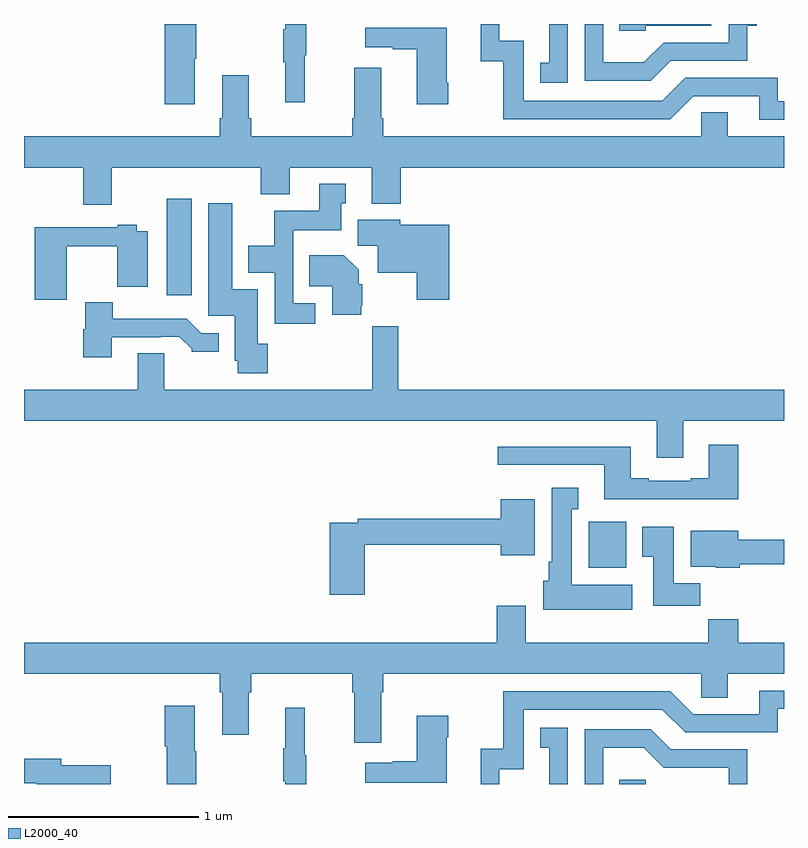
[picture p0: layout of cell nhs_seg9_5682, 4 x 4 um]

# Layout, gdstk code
import gdstk
lib = gdstk.Library(unit=1e-6, precision=1e-09)
def R(c, l, rs):  # rectangles x0, y0, x1, y1
    for r in rs: c.add(gdstk.rectangle(r[:2], r[2:], *l))
def P(c, l, *ps):  # polygons
    for p in ps: c.add(gdstk.Polygon(p, *l))
L2000_40 = (2000, 40)

nhs_seg9_5682 = lib.new_cell('nhs_seg9_5682')
R(nhs_seg9_5682, L2000_40, [(444.133,1202.5,444.273,1202.523), (443.972,1203.638,444.169,1203.88), (441.752,1205.073,441.883,1205.581)])
P(nhs_seg9_5682, L2000_40, [(445,1206.093),(444.966,1206.093),(444.966,1206.216),(444.48,1206.216),(444.36,1206.096),(443.631,1206.096),(443.631,1206.411),(443.502,1206.411),(443.502,1206.5),(443.405,1206.5),(443.405,1206.303),(443.523,1206.303),(443.523,1206),(444.402,1206),(444.522,1206.12),(444.869,1206.12),(444.869,1205.997),(445,1205.997)],
  [(443.862,1206.5),(443.765,1206.5),(443.765,1206.297),(443.716,1206.297),(443.716,1206.192),(443.862,1206.192)],
  [(441.898,1206.316),(441.906,1206.316),(441.906,1206.5),(441.74,1206.5),(441.74,1206.078),(441.898,1206.078)],
  [(442.478,1206.336),(442.486,1206.336),(442.486,1206.5),(442.376,1206.5),(442.376,1206.473),(442.365,1206.473),(442.365,1206.299),(442.376,1206.299),(442.376,1206.087),(442.478,1206.087)],
  [(444.403,1206.306),(444.807,1206.306),(444.807,1206.491),(444.856,1206.491),(444.856,1206.5),(444.708,1206.5),(444.708,1206.402),(444.366,1206.402),(444.262,1206.298),(444.048,1206.298),(444.048,1206.5),(443.952,1206.5),(443.952,1206.201),(444.298,1206.201)],
  [(444.273,1206.492),(444.618,1206.492),(444.618,1206.5),(444.133,1206.5),(444.133,1206.465),(444.273,1206.465)],
  [(443.232,1206.19),(443.224,1206.19),(443.224,1206.481),(442.797,1206.481),(442.797,1206.377),(442.94,1206.377),(442.94,1206.367),(443.066,1206.367),(443.066,1206.078),(443.232,1206.078)],
  [(441.463,1205.744),(442.247,1205.744),(442.247,1205.603),(442.399,1205.603),(442.399,1205.744),(442.829,1205.744),(442.829,1205.555),(442.982,1205.555),(442.982,1205.744),(445,1205.744),(445,1205.908),(444.703,1205.908),(444.703,1206.035),(444.564,1206.035),(444.564,1205.908),(442.892,1205.908),(442.892,1206.004),(442.879,1206.004),(442.879,1206.271),(442.739,1206.271),(442.739,1206.004),(442.727,1206.004),(442.727,1205.908),(442.196,1205.908),(442.196,1206.004),(442.183,1206.004),(442.183,1206.229),(442.043,1206.229),(442.043,1206.004),(442.031,1206.004),(442.031,1205.908),(441,1205.908),(441,1205.744),(441.311,1205.744),(441.311,1205.55),(441.463,1205.55)],
  [(442.534,1205.031),(442.416,1205.031),(442.416,1205.414),(442.669,1205.414),(442.669,1205.556),(442.693,1205.556),(442.693,1205.659),(442.553,1205.659),(442.553,1205.518),(442.318,1205.518),(442.318,1205.332),(442.181,1205.332),(442.181,1205.192),(442.32,1205.192),(442.32,1204.923),(442.534,1204.923)],
  [(442.283,1204.818),(442.231,1204.818),(442.231,1205.104),(442.096,1205.104),(442.096,1205.557),(441.971,1205.557),(441.971,1204.965),(442.109,1204.965),(442.109,1204.728),(442.126,1204.728),(442.126,1204.662),(442.283,1204.662)],
  [(443.237,1205.443),(442.98,1205.443),(442.98,1205.47),(442.757,1205.47),(442.757,1205.332),(442.862,1205.332),(442.862,1205.192),(443.066,1205.192),(443.066,1205.049),(443.237,1205.049)],
  [(441.226,1205.329),(441.49,1205.329),(441.49,1205.117),(441.652,1205.117),(441.652,1205.41),(441.594,1205.41),(441.594,1205.443),(441.494,1205.443),(441.494,1205.43),(441.056,1205.43),(441.056,1205.049),(441.226,1205.049)],
  [(442.775,1205.016),(442.78,1205.016),(442.78,1205.13),(442.762,1205.13),(442.762,1205.206),(442.684,1205.284),(442.501,1205.284),(442.501,1205.12),(442.622,1205.12),(442.622,1204.97),(442.775,1204.97)],
  [(441.463,1204.851),(441.719,1204.851),(441.719,1204.854),(441.818,1204.854),(441.882,1204.79),(441.882,1204.775),(442.024,1204.775),(442.024,1204.872),(441.933,1204.872),(441.857,1204.948),(441.466,1204.948),(441.466,1205.035),(441.323,1205.035),(441.323,1204.893),(441.311,1204.893),(441.311,1204.746),(441.463,1204.746)],
  [(444.469,1204.412),(445,1204.412),(445,1204.576),(442.97,1204.576),(442.97,1204.909),(442.834,1204.909),(442.834,1204.576),(441.739,1204.576),(441.739,1204.766),(441.599,1204.766),(441.599,1204.576),(441,1204.576),(441,1204.412),(444.329,1204.412),(444.329,1204.218),(444.469,1204.218)],
  [(444.758,1204.285),(444.605,1204.285),(444.605,1204.108),(444.509,1204.108),(444.509,1204.095),(444.289,1204.095),(444.289,1204.108),(444.193,1204.108),(444.193,1204.276),(443.493,1204.276),(443.493,1204.179),(444.053,1204.179),(444.053,1203.998),(444.758,1203.998)],
  [(444.202,1203.55),(443.884,1203.55),(443.884,1203.947),(443.917,1203.947),(443.917,1204.06),(443.777,1204.06),(443.777,1203.67),(443.762,1203.67),(443.762,1203.57),(443.732,1203.57),(443.732,1203.416),(444.202,1203.416)],
  [(442.793,1203.76),(443.51,1203.76),(443.51,1203.704),(443.689,1203.704),(443.689,1204),(443.51,1204),(443.51,1203.896),(442.756,1203.896),(442.756,1203.876),(442.61,1203.876),(442.61,1203.495),(442.793,1203.495)],
  [(444.56,1203.556),(444.421,1203.556),(444.421,1203.853),(444.254,1203.853),(444.254,1203.697),(444.311,1203.697),(444.311,1203.438),(444.56,1203.438)],
  [(444.768,1203.657),(445,1203.657),(445,1203.785),(444.76,1203.785),(444.76,1203.832),(444.509,1203.832),(444.509,1203.644),(444.642,1203.644),(444.642,1203.638),(444.768,1203.638)],
  [(442.879,1202.984),(442.892,1202.984),(442.892,1203.08),(444.564,1203.08),(444.564,1202.953),(444.703,1202.953),(444.703,1203.08),(445,1203.08),(445,1203.244),(444.758,1203.244),(444.758,1203.368),(444.601,1203.368),(444.601,1203.244),(443.641,1203.244),(443.641,1203.439),(443.489,1203.439),(443.489,1203.244),(441,1203.244),(441,1203.08),(442.031,1203.08),(442.031,1202.984),(442.043,1202.984),(442.043,1202.76),(442.183,1202.76),(442.183,1202.984),(442.196,1202.984),(442.196,1203.08),(442.727,1203.08),(442.727,1202.984),(442.739,1202.984),(442.739,1202.718),(442.879,1202.718)],
  [(443.502,1202.577),(443.631,1202.577),(443.631,1202.892),(444.36,1202.892),(444.48,1202.772),(444.966,1202.772),(444.966,1202.895),(445,1202.895),(445,1202.991),(444.869,1202.991),(444.869,1202.868),(444.522,1202.868),(444.402,1202.988),(443.523,1202.988),(443.523,1202.686),(443.405,1202.686),(443.405,1202.5),(443.502,1202.5)],
  [(441.906,1202.672),(441.898,1202.672),(441.898,1202.911),(441.74,1202.911),(441.74,1202.698),(441.752,1202.698),(441.752,1202.5),(441.906,1202.5)],
  [(442.486,1202.652),(442.478,1202.652),(442.478,1202.902),(442.376,1202.902),(442.376,1202.689),(442.365,1202.689),(442.365,1202.515),(442.376,1202.515),(442.376,1202.5),(442.486,1202.5)],
  [(443.224,1202.747),(443.232,1202.747),(443.232,1202.86),(443.066,1202.86),(443.066,1202.621),(442.94,1202.621),(442.94,1202.611),(442.797,1202.611),(442.797,1202.507),(443.224,1202.507)],
  [(443.862,1202.797),(443.716,1202.797),(443.716,1202.691),(443.765,1202.691),(443.765,1202.5),(443.862,1202.5)],
  [(444.048,1202.69),(444.262,1202.69),(444.366,1202.586),(444.708,1202.586),(444.708,1202.5),(444.807,1202.5),(444.807,1202.682),(444.403,1202.682),(444.298,1202.787),(443.952,1202.787),(443.952,1202.5),(444.048,1202.5)],
  [(441.457,1202.598),(441.196,1202.598),(441.196,1202.632),(441,1202.632),(441,1202.503),(441.068,1202.503),(441.068,1202.5),(441.457,1202.5)])

lib.write_gds('nhs_seg9_5682.gds')
